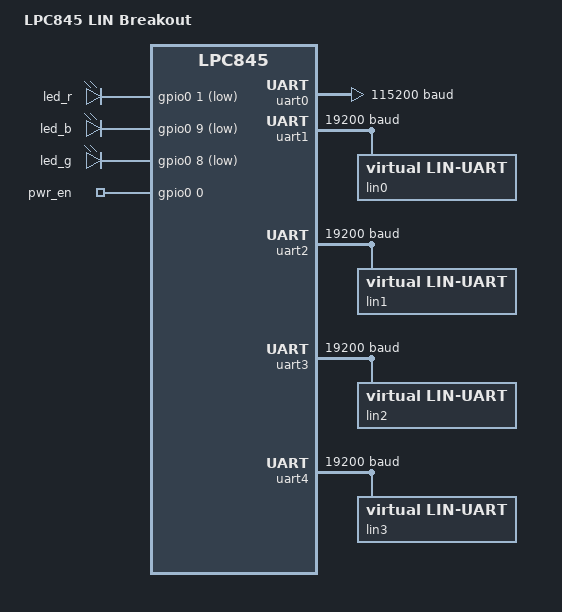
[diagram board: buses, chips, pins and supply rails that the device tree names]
/dts-v1/;
#include <nxp/nxp_lpc845.dtsi>
#include <dt-bindings/gpio/gpio.h>

/ {
    model = "LPC845 LIN Breakout";
    compatible = "nxp,lpc";

    chosen {
        zephyr,sram    = &sram0;
        zephyr,flash   = &flash0;
        zephyr,console = &uart0;
    };

    aliases {
        led0 = &led_r;
        led1 = &led_g;
        led2 = &led_b;
    };

    leds {
        compatible = "gpio-leds";
        led_r: led_r   { gpios = <&gpio0 1 GPIO_ACTIVE_LOW>;  };
        led_b: led_b   { gpios = <&gpio0 9 GPIO_ACTIVE_LOW>;  };
        led_g: led_g   { gpios = <&gpio0 8 GPIO_ACTIVE_LOW>;  };
        pwr_en: pwr_en { gpios = <&gpio0 0 GPIO_ACTIVE_HIGH>; };
    };
};

&uart0 {
    status = "okay";
    pinctrl = <P0_25 P0_24>;
    current-speed = <115200>;
};

&uart1 {
    status = "okay";
    pinctrl = <P0_17 P0_18>;
    current-speed = <19200>;
    lin0: lin0 {
        compatible = "virtual,lin-uart";
        status = "okay";
        bitrate = <19200>;
    };
};

&uart2 {
    status = "okay";
    pinctrl = <P0_20 P0_19>;
    current-speed = <19200>;
    lin1: lin1 {
        compatible = "virtual,lin-uart";
        status = "okay";
        bitrate = <19200>;
    };
};

&uart3 {
    status = "okay";
    pinctrl = <P0_21 P0_22>;
    current-speed = <19200>;
    lin2: lin2 {
        compatible = "virtual,lin-uart";
        status = "okay";
        bitrate = <19200>;
    };
};

&uart4 {
    status = "okay";
    pinctrl = <P0_23 P0_14>;
    current-speed = <19200>;
    lin3: lin3 {
        compatible = "virtual,lin-uart";
        status = "okay";
        bitrate = <19200>;
    };
};

&gpio0 {
    status = "okay";
};

&gpio1 {
    status = "okay";
};
